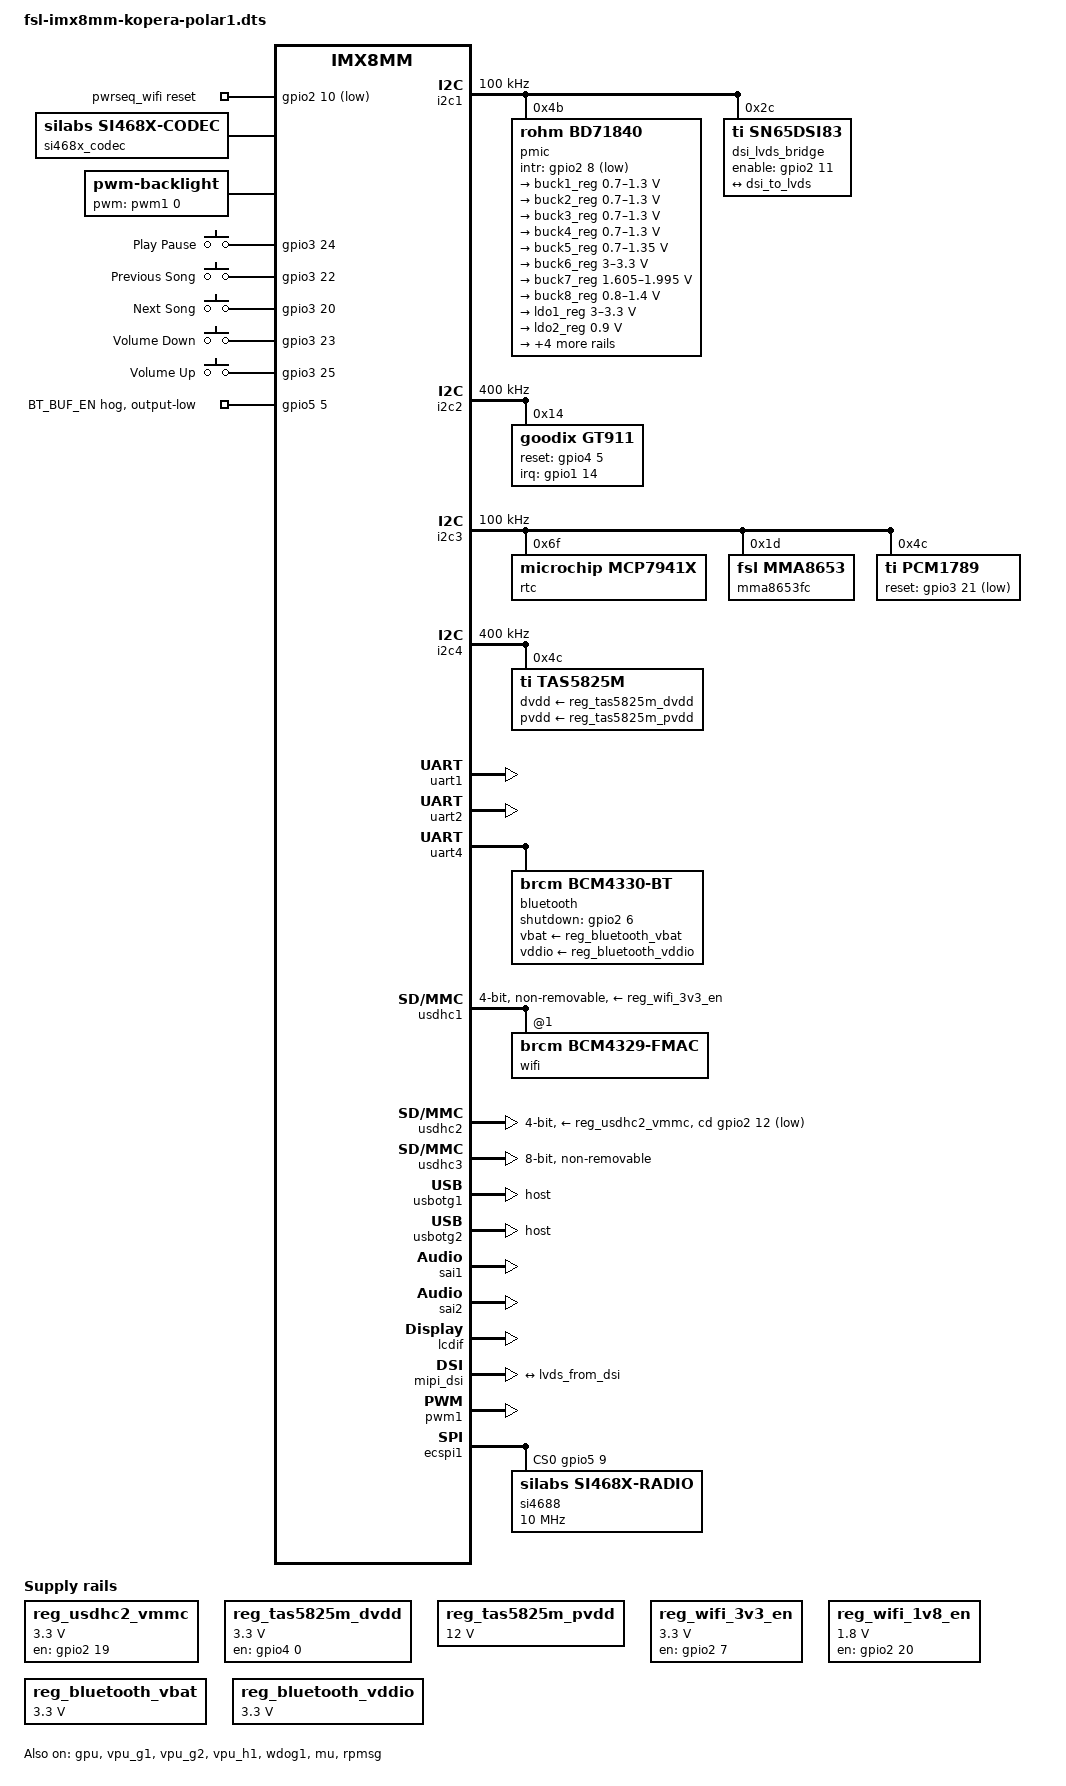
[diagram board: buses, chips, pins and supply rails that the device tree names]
/*
 * Copyright 2017 NXP
 * Copyright 2018-2019 Variscite Ltd.
 * Copyright 2019 KOPERA
 *
 * This program is free software; you can redistribute it and/or
 * modify it under the terms of the GNU General Public License
 * as published by the Free Software Foundation; either version 2
 * of the License, or (at your option) any later version.
 *
 * This program is distributed in the hope that it will be useful,
 * but WITHOUT ANY WARRANTY; without even the implied warranty of
 * MERCHANTABILITY or FITNESS FOR A PARTICULAR PURPOSE.  See the
 * GNU General Public License for more details.
 */

/dts-v1/;

#include "fsl-imx8mm.dtsi"

/ {
	compatible = "kopera,imx8mm-kopera-polar1", "fsl,imx8mm";

	chosen {
		bootargs = "console=ttymxc0,115200 earlycon=ec_imx6q,0x30860000,115200";
		stdout-path = &uart1;
	};

	regulators {
		compatible = "simple-bus";
		#address-cells = <1>;
		#size-cells = <0>;

		reg_usdhc2_vmmc: regulator-usdhc2 {
			compatible = "regulator-fixed";
			regulator-name = "VSD_3V3";
			regulator-min-microvolt = <3300000>;
			regulator-max-microvolt = <3300000>;
			gpio = <&gpio2 19 GPIO_ACTIVE_HIGH>;
			off-on-delay = <20000>;
			enable-active-high;
		};

		reg_tas5825m_dvdd: tas5825m_dvdd {
			compatible = "regulator-fixed";
			regulator-name = "TAS5825M_DVDD";
			regulator-min-microvolt = <3300000>;
			regulator-max-microvolt = <3300000>;
			gpio = <&gpio4 0 GPIO_ACTIVE_HIGH>;
			enable-active-high;
		};

		reg_tas5825m_pvdd: tas5825m_pvdd {
			compatible = "regulator-fixed";
			regulator-name = "TAS5825M_PVDD";
			regulator-min-microvolt = <12000000>;
			regulator-max-microvolt = <12000000>;
			regulator-always-on;
		};

		reg_wifi_3v3_en: wifi_3v3_en {
			compatible = "regulator-fixed";
			regulator-name = "WIFI_3V3_REG_ON";
			regulator-min-microvolt = <3300000>;
			regulator-max-microvolt = <3300000>;
			gpio = <&gpio2 7 GPIO_ACTIVE_HIGH>;
			enable-active-high;
			startup-delay-us = <20000>;
		};

		reg_wifi_1v8_en: wifi_1v8_en {
			compatible = "regulator-fixed";
			regulator-name = "WIFI_1V8_REG_ON";
			regulator-min-microvolt = <1800000>;
			regulator-max-microvolt = <1800000>;
			gpio = <&gpio2 20 GPIO_ACTIVE_HIGH>;
			enable-active-high;
			startup-delay-us = <20000>;
		};

		reg_bluetooth_vbat: bluetooth_vbat {
			compatible = "regulator-fixed";
			regulator-name = "BLUETOOTH_VBAT";
			regulator-min-microvolt = <3300000>;
			regulator-max-microvolt = <3300000>;
		};

		reg_bluetooth_vddio: bluetooth_vddio {
			compatible = "regulator-fixed";
			regulator-name = "BLUETOOTH_VDDIO";
			regulator-min-microvolt = <3300000>;
			regulator-max-microvolt = <3300000>;
		};
	};

	pwrseq_wifi: pwrseq_wifi {
		compatible = "mmc-pwrseq-simple";
		reset-gpios = <&gpio2 10 GPIO_ACTIVE_LOW>;
	};

	sound-tas5825m {
		compatible = "simple-audio-card";
		simple-audio-card,name = "tas5825m";
		simple-audio-card,aux-devs = <&pcm1789>;
		status = "okay";

		simple-audio-card,dai-link@0 {
			format = "i2s";
			bitclock-master = <&dailink0_master>;
			frame-master = <&dailink0_master>;

			dailink0_master: cpu {
				sound-dai = <&sai1>;
			};

			codec {
				sound-dai = <&tas5825m>;
			};
		};
	};

	sound-si468x {
		compatible = "simple-audio-card";
		simple-audio-card,name = "si468x";
		status = "okay";

		simple-audio-card,dai-link@0 {
			format = "i2s";
			bitclock-master = <&dailink1_master>;
			frame-master = <&dailink1_master>;

			dailink1_master: cpu {
				sound-dai = <&sai2>;
			};

			codec {
				sound-dai = <&si468x_codec>;
			};
		};
	};

	si468x_codec: si468x-codec {
		#sound-dai-cells = <0>;

		compatible = "silabs,si468x-codec";
		status = "okay";
	};

	backlight: backlight {
		compatible = "pwm-backlight";
		pwms = <&pwm1 0 1000000 0>;
		brightness-levels = <
			0 0 1 1 1 1 2 2 2 3
			3 3 4 4 4 5 5 6 6 7
			8 8 9 10 10 11 12 13 14 15
			16 17 18 19 20 22 23 24 26 27
			29 30 32 34 35 37 39 41 43 45
			47 49 51 54 56 58 61 64 66 69
			72 75 78 81 84 87 90 93 97 100
			104 108 111 115 119 123 127 131 136 140
			145 149 154 159 163 168 173 179 184 189
			195 200 206 212 217 223 230 236 242 248
			255
		>;
		default-brightness-level = <100>;
		status = "okay";
	};

	gpio-keys {
		compatible = "gpio-keys";
		pinctrl-names = "default";
		pinctrl-0 = <&pinctrl_gpio_keys>;

		play_pause {
			label = "Play Pause";
			gpios = <&gpio3 24 GPIO_ACTIVE_HIGH>;
			linux,code = <KEY_PLAYPAUSE>;
		};

		previous_song {
			label = "Previous Song";
			gpios = <&gpio3 22 GPIO_ACTIVE_HIGH>;
			linux,code = <KEY_PREVIOUSSONG>;
		};

		next_song {
			label = "Next Song";
			gpios = <&gpio3 20 GPIO_ACTIVE_HIGH>;
			linux,code = <KEY_NEXTSONG>;
		};

		volume_down {
			label = "Volume Down";
			gpios = <&gpio3 23 GPIO_ACTIVE_HIGH>;
			linux,code = <KEY_VOLUMEDOWN>;
		};

		volume_up {
			label = "Volume Up";
			gpios = <&gpio3 25 GPIO_ACTIVE_HIGH>;
			linux,code = <KEY_VOLUMEUP>;
		};
	};
};

&clk {
	assigned-clocks = <&clk IMX8MM_AUDIO_PLL1>;
	assigned-clock-rates = <786432000>;
};

&iomuxc {
	pinctrl-names = "default";

	imx8mm-kopera-polar1 {
		/* i2c */
		pinctrl_i2c1: i2c1grp {
			fsl,pins = <
				MX8MM_IOMUXC_I2C1_SCL_I2C1_SCL              0x400001c3
				MX8MM_IOMUXC_I2C1_SDA_I2C1_SDA              0x400001c3
			>;
		};

		pinctrl_i2c2: i2c2grp {
			fsl,pins = <
				MX8MM_IOMUXC_I2C2_SCL_I2C2_SCL              0x400001c3
				MX8MM_IOMUXC_I2C2_SDA_I2C2_SDA              0x400001c3
			>;
		};

		pinctrl_i2c3: i2c3grp {
			fsl,pins = <
				MX8MM_IOMUXC_I2C3_SCL_I2C3_SCL              0x400001c3
				MX8MM_IOMUXC_I2C3_SDA_I2C3_SDA              0x400001c3
			>;
		};

		pinctrl_i2c4: i2c4grp {
			fsl,pins = <
				MX8MM_IOMUXC_I2C4_SCL_I2C4_SCL              0x400001c3
				MX8MM_IOMUXC_I2C4_SDA_I2C4_SDA              0x400001c3
			>;
		};

		/* PMIC */
		pinctrl_pmic: pmicirq {
			fsl,pins = <
				MX8MM_IOMUXC_SD1_DATA6_GPIO2_IO8            0x41
			>;
		};

		/* UART */
		pinctrl_uart1: uart1grp {
			fsl,pins = <
				MX8MM_IOMUXC_UART1_RXD_UART1_DCE_RX         0x140
				MX8MM_IOMUXC_UART1_TXD_UART1_DCE_TX         0x140
			>;
		};

		pinctrl_uart2: uart2grp {
			fsl,pins = <
				MX8MM_IOMUXC_UART2_RXD_UART2_DCE_RX         0x140
				MX8MM_IOMUXC_UART2_TXD_UART2_DCE_TX         0x140
			>;
		};

		pinctrl_uart3: uart3grp {
			fsl,pins = <
				MX8MM_IOMUXC_UART3_RXD_UART3_DCE_RX         0x140
				MX8MM_IOMUXC_UART3_TXD_UART3_DCE_TX         0x140
			>;
		};

		pinctrl_uart4: uart4grp {
			fsl,pins = <
				MX8MM_IOMUXC_ECSPI2_SCLK_UART4_DCE_RX       0x140
				MX8MM_IOMUXC_ECSPI2_MOSI_UART4_DCE_TX       0x140
				MX8MM_IOMUXC_ECSPI2_SS0_UART4_DCE_RTS_B     0x140
				MX8MM_IOMUXC_ECSPI2_MISO_UART4_DCE_CTS_B    0x140
			>;
		};

		/* SDIO */
		pinctrl_usdhc1: usdhc1grp {
			fsl,pins = <
				MX8MM_IOMUXC_SD1_CLK_USDHC1_CLK             0x190
				MX8MM_IOMUXC_SD1_CMD_USDHC1_CMD             0x1d0
				MX8MM_IOMUXC_SD1_DATA0_USDHC1_DATA0         0x1d0
				MX8MM_IOMUXC_SD1_DATA1_USDHC1_DATA1         0x1d0
				MX8MM_IOMUXC_SD1_DATA2_USDHC1_DATA2         0x1d0
				MX8MM_IOMUXC_SD1_DATA3_USDHC1_DATA3         0x1d0
			>;
		};

		pinctrl_usdhc1_100mhz: usdhc1grp100mhz {
			fsl,pins = <
				MX8MM_IOMUXC_SD1_CLK_USDHC1_CLK             0x194
				MX8MM_IOMUXC_SD1_CMD_USDHC1_CMD             0x1d4
				MX8MM_IOMUXC_SD1_DATA0_USDHC1_DATA0         0x1d4
				MX8MM_IOMUXC_SD1_DATA1_USDHC1_DATA1         0x1d4
				MX8MM_IOMUXC_SD1_DATA2_USDHC1_DATA2         0x1d4
				MX8MM_IOMUXC_SD1_DATA3_USDHC1_DATA3         0x1d4
			>;
		};

		pinctrl_usdhc1_200mhz: usdhc1grp200mhz {
			fsl,pins = <
				MX8MM_IOMUXC_SD1_CLK_USDHC1_CLK             0x196
				MX8MM_IOMUXC_SD1_CMD_USDHC1_CMD             0x1d6
				MX8MM_IOMUXC_SD1_DATA0_USDHC1_DATA0         0x1d6
				MX8MM_IOMUXC_SD1_DATA1_USDHC1_DATA1         0x1d6
				MX8MM_IOMUXC_SD1_DATA2_USDHC1_DATA2         0x1d6
				MX8MM_IOMUXC_SD1_DATA3_USDHC1_DATA3         0x1d6
			>;
		};

		pinctrl_usdhc2_gpio: usdhc2grpgpio {
			fsl,pins = <
				MX8MM_IOMUXC_SD2_CD_B_GPIO2_IO12            0xc1
				MX8MM_IOMUXC_SD2_RESET_B_GPIO2_IO19         0xc1
			>;
		};

		pinctrl_usdhc2: usdhc2grp {
			fsl,pins = <
				MX8MM_IOMUXC_SD2_CLK_USDHC2_CLK             0x190
				MX8MM_IOMUXC_SD2_CMD_USDHC2_CMD             0x1d0
				MX8MM_IOMUXC_SD2_DATA0_USDHC2_DATA0         0x1d0
				MX8MM_IOMUXC_SD2_DATA1_USDHC2_DATA1         0x1d0
				MX8MM_IOMUXC_SD2_DATA2_USDHC2_DATA2         0x1d0
				MX8MM_IOMUXC_SD2_DATA3_USDHC2_DATA3         0x1d0
				MX8MM_IOMUXC_GPIO1_IO04_USDHC2_VSELECT      0x1d0
			>;
		};

		pinctrl_usdhc2_100mhz: usdhc2grp100mhz {
			fsl,pins = <
				MX8MM_IOMUXC_SD2_CLK_USDHC2_CLK             0x194
				MX8MM_IOMUXC_SD2_CMD_USDHC2_CMD             0x1d4
				MX8MM_IOMUXC_SD2_DATA0_USDHC2_DATA0         0x1d4
				MX8MM_IOMUXC_SD2_DATA1_USDHC2_DATA1         0x1d4
				MX8MM_IOMUXC_SD2_DATA2_USDHC2_DATA2         0x1d4
				MX8MM_IOMUXC_SD2_DATA3_USDHC2_DATA3         0x1d4
				MX8MM_IOMUXC_GPIO1_IO04_USDHC2_VSELECT      0x1d0
			>;
		};

		pinctrl_usdhc2_200mhz: usdhc2grp200mhz {
			fsl,pins = <
				MX8MM_IOMUXC_SD2_CLK_USDHC2_CLK             0x196
				MX8MM_IOMUXC_SD2_CMD_USDHC2_CMD             0x1d6
				MX8MM_IOMUXC_SD2_DATA0_USDHC2_DATA0         0x1d6
				MX8MM_IOMUXC_SD2_DATA1_USDHC2_DATA1         0x1d6
				MX8MM_IOMUXC_SD2_DATA2_USDHC2_DATA2         0x1d6
				MX8MM_IOMUXC_SD2_DATA3_USDHC2_DATA3         0x1d6
				MX8MM_IOMUXC_GPIO1_IO04_USDHC2_VSELECT      0x1d0
			>;
		};

		pinctrl_usdhc3: usdhc3grp {
			fsl,pins = <
				MX8MM_IOMUXC_NAND_WE_B_USDHC3_CLK           0x190
				MX8MM_IOMUXC_NAND_WP_B_USDHC3_CMD           0x1d0
				MX8MM_IOMUXC_NAND_DATA04_USDHC3_DATA0       0x1d0
				MX8MM_IOMUXC_NAND_DATA05_USDHC3_DATA1       0x1d0
				MX8MM_IOMUXC_NAND_DATA06_USDHC3_DATA2       0x1d0
				MX8MM_IOMUXC_NAND_DATA07_USDHC3_DATA3       0x1d0
				MX8MM_IOMUXC_NAND_RE_B_USDHC3_DATA4         0x1d0
				MX8MM_IOMUXC_NAND_CE2_B_USDHC3_DATA5        0x1d0
				MX8MM_IOMUXC_NAND_CE3_B_USDHC3_DATA6        0x1d0
				MX8MM_IOMUXC_NAND_CLE_USDHC3_DATA7          0x1d0
				MX8MM_IOMUXC_NAND_CE1_B_USDHC3_STROBE       0x190
			>;
		};

		pinctrl_usdhc3_100mhz: usdhc3grp100mhz {
			fsl,pins = <
				MX8MM_IOMUXC_NAND_WE_B_USDHC3_CLK           0x194
				MX8MM_IOMUXC_NAND_WP_B_USDHC3_CMD           0x1d4
				MX8MM_IOMUXC_NAND_DATA04_USDHC3_DATA0       0x1d4
				MX8MM_IOMUXC_NAND_DATA05_USDHC3_DATA1       0x1d4
				MX8MM_IOMUXC_NAND_DATA06_USDHC3_DATA2       0x1d4
				MX8MM_IOMUXC_NAND_DATA07_USDHC3_DATA3       0x1d4
				MX8MM_IOMUXC_NAND_RE_B_USDHC3_DATA4         0x1d4
				MX8MM_IOMUXC_NAND_CE2_B_USDHC3_DATA5        0x1d4
				MX8MM_IOMUXC_NAND_CE3_B_USDHC3_DATA6        0x1d4
				MX8MM_IOMUXC_NAND_CLE_USDHC3_DATA7          0x1d4
				MX8MM_IOMUXC_NAND_CE1_B_USDHC3_STROBE       0x194
			>;
		};

		pinctrl_usdhc3_200mhz: usdhc3grp200mhz {
			fsl,pins = <
				MX8MM_IOMUXC_NAND_WE_B_USDHC3_CLK           0x196
				MX8MM_IOMUXC_NAND_WP_B_USDHC3_CMD           0x1d6
				MX8MM_IOMUXC_NAND_DATA04_USDHC3_DATA0       0x1d6
				MX8MM_IOMUXC_NAND_DATA05_USDHC3_DATA1       0x1d6
				MX8MM_IOMUXC_NAND_DATA06_USDHC3_DATA2       0x1d6
				MX8MM_IOMUXC_NAND_DATA07_USDHC3_DATA3       0x1d6
				MX8MM_IOMUXC_NAND_RE_B_USDHC3_DATA4         0x1d6
				MX8MM_IOMUXC_NAND_CE2_B_USDHC3_DATA5        0x1d6
				MX8MM_IOMUXC_NAND_CE3_B_USDHC3_DATA6        0x1d6
				MX8MM_IOMUXC_NAND_CLE_USDHC3_DATA7          0x1d6
				MX8MM_IOMUXC_NAND_CE1_B_USDHC3_STROBE       0x196
			>;
		};

		/* SAI */
		pinctrl_sai1: sai1grp {
			fsl,pins = <
				MX8MM_IOMUXC_SAI1_MCLK_SAI1_MCLK            0xd6
				MX8MM_IOMUXC_SAI1_TXFS_SAI1_TX_SYNC         0xd6
				MX8MM_IOMUXC_SAI1_TXC_SAI1_TX_BCLK          0xd6
				MX8MM_IOMUXC_SAI1_TXD0_SAI1_TX_DATA0        0xd6
			>;
		};

		pinctrl_sai2: sai2grp {
			fsl,pins = <
				MX8MM_IOMUXC_SAI2_MCLK_SAI2_MCLK            0xd6
				MX8MM_IOMUXC_SAI2_RXC_SAI2_RX_BCLK          0xd6
				MX8MM_IOMUXC_SAI2_RXD0_SAI2_RX_DATA0        0xd6
				MX8MM_IOMUXC_SAI2_RXFS_SAI2_RX_SYNC         0xd6
			>;
		};

		/* watchdog */
		pinctrl_wdog: wdoggrp {
			fsl,pins = <
				MX8MM_IOMUXC_GPIO1_IO02_WDOG1_WDOG_B        0xc6
			>;
		};

		/* PWM */
		pinctrl_pwm1: pwm1grp {
			fsl,pins = <
				MX8MM_IOMUXC_GPIO1_IO01_PWM1_OUT            0x06
			>;
		};

		/* Capacitive touch */
		pinctrl_captouch: captouchgrp {
			fsl,pins = <
				MX8MM_IOMUXC_SAI1_RXD3_GPIO4_IO5            0x16
				MX8MM_IOMUXC_GPIO1_IO14_GPIO1_IO14          0x16
			>;
		};

		/* GPIO Keys */
		pinctrl_gpio_keys: keygrp {
			fsl,pins = <
				MX8MM_IOMUXC_SAI5_RXD2_GPIO3_IO23           0x186
				MX8MM_IOMUXC_SAI5_RXC_GPIO3_IO20            0x186
				MX8MM_IOMUXC_SAI5_RXD1_GPIO3_IO22           0x186
				MX8MM_IOMUXC_SAI5_RXD3_GPIO3_IO24           0x186
				MX8MM_IOMUXC_SAI5_MCLK_GPIO3_IO25           0x186
			>;
		};

		/* SPI */
		pinctrl_ecspi1: ecspi1grp {
			fsl,pins = <
				MX8MM_IOMUXC_ECSPI1_SCLK_ECSPI1_SCLK        0x11
				MX8MM_IOMUXC_ECSPI1_MOSI_ECSPI1_MOSI        0x11
				MX8MM_IOMUXC_ECSPI1_MISO_ECSPI1_MISO        0x11
				MX8MM_IOMUXC_ECSPI1_SS0_GPIO5_IO9           0x11  /* SI4688_CS */
			>;
		};

		/* LVDS */
		pinctrl_lvds: lvdsgrp {
			fsl,pins = <
				MX8MM_IOMUXC_SD1_STROBE_GPIO2_IO11          0x16
			>;
		};

		/* TAS5825M */
		pinctrl_tas5825m: tas5825mgrp {
			fsl,pins = <
				MX8MM_IOMUXC_SAI1_RXFS_GPIO4_IO0            0xc1
			>;
		};

		/* DAC */
		pinctrl_pcm1789: pcm1789grp {
			fsl,pins = <
				MX8MM_IOMUXC_SAI5_RXD0_GPIO3_IO21           0x86
			>;
		};

		/* DAB/FM Radio */
		pinctrl_si4688: si4688grp {
			fsl,pins = <
				MX8MM_IOMUXC_SAI1_TXD5_GPIO4_IO17           0x86 /* SI4688_RSTB */
				MX8MM_IOMUXC_SAI1_RXC_GPIO4_IO1             0xc6 /* SI4688_INTB */
			>;
		};

		/* WIFI */
		pinctrl_wifi: wifigrp {
			fsl,pins = <
				MX8MM_IOMUXC_SD1_DATA5_GPIO2_IO7            0xc1  /* WIFI_3V3_PWR_EN */
				MX8MM_IOMUXC_SD2_WP_GPIO2_IO20              0x140 /* WIFI_1V8_PWR_EN */
				MX8MM_IOMUXC_SD1_RESET_B_GPIO2_IO10         0xc1  /* WIFI_REG_ON     */
			>;
		};

		/* Bluetooth */
		pinctrl_bluetooth: bluetoothgrp {
			fsl,pins = <
				MX8MM_IOMUXC_SD1_DATA4_GPIO2_IO6            0xc1  /* BT_REG_ON */
			>;
		};

		pinctrl_bluetooth_buffer: bluetoothbuffergrp {
			fsl,pins = <
				MX8MM_IOMUXC_SPDIF_EXT_CLK_GPIO5_IO5        0xc1  /* BT_BUF_EN */
			>;
		};
	};
};

/* A53 */
&A53_0 {
	arm-supply = <&buck2_reg>;
};

&snvs_rtc {
	status = "disabled";
};

/* I2C */
&i2c1 {
	clock-frequency = <100000>;
	pinctrl-names = "default";
	pinctrl-0 = <&pinctrl_i2c1>;
	status = "okay";

	pmic: bd71837@4b {
		reg = <0x4b>;
		compatible = "rohm,bd71840", "rohm,bd71837";
		pinctrl-0 = <&pinctrl_pmic>;
		gpio_intr = <&gpio2 8 GPIO_ACTIVE_LOW>;

		gpo {
			rohm,drv = <0x0C>;	/* 0b0000_1100 all gpos with cmos output mode */
		};

		regulators {
			#address-cells = <1>;
			#size-cells = <0>;

			bd71837,pmic-buck2-uses-i2c-dvs;
			bd71837,pmic-buck2-dvs-voltage = <1000000>, <900000>, <0>; /* VDD_ARM: Run-Idle */

			buck1_reg: regulator@0 {
				reg = <0>;
				regulator-compatible = "buck1";
				regulator-min-microvolt = <700000>;
				regulator-max-microvolt = <1300000>;
				regulator-boot-on;
				regulator-always-on;
				regulator-ramp-delay = <1250>;
			};

			buck2_reg: regulator@1 {
				reg = <1>;
				regulator-compatible = "buck2";
				regulator-min-microvolt = <700000>;
				regulator-max-microvolt = <1300000>;
				regulator-boot-on;
				regulator-always-on;
				regulator-ramp-delay = <1250>;
			};

			buck3_reg: regulator@2 {
				reg = <2>;
				regulator-compatible = "buck3";
				regulator-min-microvolt = <700000>;
				regulator-max-microvolt = <1300000>;
			};

			buck4_reg: regulator@3 {
				reg = <3>;
				regulator-compatible = "buck4";
				regulator-min-microvolt = <700000>;
				regulator-max-microvolt = <1300000>;
			};

			buck5_reg: regulator@4 {
				reg = <4>;
				regulator-compatible = "buck5";
				regulator-min-microvolt = <700000>;
				regulator-max-microvolt = <1350000>;
				regulator-boot-on;
				regulator-always-on;
			};

			buck6_reg: regulator@5 {
				reg = <5>;
				regulator-compatible = "buck6";
				regulator-min-microvolt = <3000000>;
				regulator-max-microvolt = <3300000>;
				regulator-boot-on;
				regulator-always-on;
			};

			buck7_reg: regulator@6 {
				reg = <6>;
				regulator-compatible = "buck7";
				regulator-min-microvolt = <1605000>;
				regulator-max-microvolt = <1995000>;
				regulator-boot-on;
				regulator-always-on;
			};

			buck8_reg: regulator@7 {
				reg = <7>;
				regulator-compatible = "buck8";
				regulator-min-microvolt = <800000>;
				regulator-max-microvolt = <1400000>;
				regulator-boot-on;
				regulator-always-on;
			};

			ldo1_reg: regulator@8 {
				reg = <8>;
				regulator-compatible = "ldo1";
				regulator-min-microvolt = <3000000>;
				regulator-max-microvolt = <3300000>;
				regulator-boot-on;
				regulator-always-on;
			};

			ldo2_reg: regulator@9 {
				reg = <9>;
				regulator-compatible = "ldo2";
				regulator-min-microvolt = <900000>;
				regulator-max-microvolt = <900000>;
				regulator-boot-on;
				regulator-always-on;
			};

			ldo3_reg: regulator@10 {
				reg = <10>;
				regulator-compatible = "ldo3";
				regulator-min-microvolt = <1800000>;
				regulator-max-microvolt = <3300000>;
				regulator-boot-on;
				regulator-always-on;
			};

			ldo4_reg: regulator@11 {
				reg = <11>;
				regulator-compatible = "ldo4";
				regulator-min-microvolt = <900000>;
				regulator-max-microvolt = <1800000>;
				regulator-boot-on;
				regulator-always-on;
			};

			ldo5_reg: regulator@12 {
				reg = <12>;
				regulator-compatible = "ldo5";
				regulator-min-microvolt = <1800000>;
				regulator-max-microvolt = <1800000>;
				regulator-always-on;
			};

			ldo6_reg: regulator@13 {
				reg = <13>;
				regulator-compatible = "ldo6";
				regulator-min-microvolt = <900000>;
				regulator-max-microvolt = <1800000>;
				regulator-boot-on;
				regulator-always-on;
			};
		};
	};

	dsi_lvds_bridge: sn65dsi84@2c {
		compatible = "ti,sn65dsi83";
		reg = <0x2c>;
		ti,dsi-lanes = <4>;
		ti,lvds-format = <2>;
		ti,lvds-bpp = <24>;
		ti,width-mm = <154>;
		ti,height-mm = <90>;
		enable-gpios = <&gpio2 11 GPIO_ACTIVE_HIGH>;
		pinctrl-names = "default";
		pinctrl-0 = <&pinctrl_lvds>;
		status = "okay";

		display-timings {
			lvds {
				clock-frequency = <49500000>;
				hactive = <1024>;
				vactive = <600>;

				hback-porch = <220>;
				hfront-porch = <50>;
				hsync-len = <50>;

				vback-porch = <26>;
				vfront-porch = <3>;
				vsync-len = <6>;

				hsync-active = <0>;
				vsync-active = <0>;
				de-active = <1>;
				pixelclk-active = <0>;
			};
		};

		port {
			lvds_from_dsi: endpoint {
				remote-endpoint = <&dsi_to_lvds>;
			};
		};
	};
};

&i2c2 {
	clock-frequency = <400000>;
	pinctrl-names = "default";
	pinctrl-0 = <&pinctrl_i2c2>;
	status = "okay";

	/* Capacitive touch screen */
	gt911: gt911@14 {
		compatible = "goodix,gt911";
		reg = <0x14>;
		pinctrl-names = "default";
		pinctrl-0 = <&pinctrl_captouch>;
		reset-gpios = <&gpio4 5 GPIO_ACTIVE_HIGH>;
		irq-gpios = <&gpio1 14 GPIO_ACTIVE_HIGH>;
		interrupt-parent = <&gpio1>;
		interrupts = <14 0>;
		touchscreen-size-x = <1024>;
		touchscreen-size-y = <600>;
		skip-config-loading;
		status = "okay";
	};
};

&i2c3 {
	clock-frequency = <100000>;
	pinctrl-names = "default";
	pinctrl-0 = <&pinctrl_i2c3>;
	status = "okay";

	rtc@6f {
		compatible = "microchip,mcp7941x";
		reg = <0x6f>;
		status = "okay";
	};

	mma8653fc@1d {
		compatible = "fsl,mma8653";
		reg = <0x1d>;
		status = "okay";
	};

	pcm1789: pcm1789@4c {
		#sound-dai-cells = <0>;

		compatible = "ti,pcm1789";
		reg = <0x4c>;
		pinctrl-names = "default";
		pinctrl-0 = <&pinctrl_pcm1789>;
		reset-gpios = <&gpio3 21 GPIO_ACTIVE_LOW>;
		status = "okay";
	};
};

&i2c4 {
	clock-frequency = <400000>;
	pinctrl-names = "default";
	pinctrl-0 = <&pinctrl_i2c4>;
	status = "okay";

	tas5825m: tas5825m@4c {
		#sound-dai-cells = <0>;

		compatible = "ti,tas5825m";
		reg = <0x4c>;
		pinctrl-names = "default";
		pinctrl-0 = <&pinctrl_tas5825m>;
		clocks = <&clk IMX8MM_CLK_SAI1_ROOT>;
		clock-names = "mclk";
		dvdd-supply = <&reg_tas5825m_dvdd>;
		pvdd-supply = <&reg_tas5825m_pvdd>;
		status = "okay";
	};
};

/* UART */
&uart1 {
	/* Console */
	pinctrl-names = "default";
	pinctrl-0 = <&pinctrl_uart1>;
	status = "okay";
};

&uart2 {
	/* uC */
	pinctrl-names = "default";
	pinctrl-0 = <&pinctrl_uart2>;
	status = "okay";
};

&uart3 {
	pinctrl-names = "default";
	pinctrl-0 = <&pinctrl_uart3>;
	status = "disabled";
};

/* Bluetooth */
&uart4 {
	pinctrl-names = "default";
	pinctrl-0 = <&pinctrl_bluetooth &pinctrl_uart4>;
	assigned-clocks = <&clk IMX8MM_CLK_UART4_SRC>;
	assigned-clock-parents = <&clk IMX8MM_SYS_PLL1_80M>;
	uart-has-rtscts;
	status = "okay";

	bluetooth {
		compatible = "brcm,bcm4330-bt";
		max-speed = <3000000>;
		shutdown-gpios = <&gpio2 6 GPIO_ACTIVE_HIGH>;
		vbat-supply = <&reg_bluetooth_vbat>;
		vddio-supply = <&reg_bluetooth_vddio>;
	};
};

&gpio5 {
	bluetooth_buf_en_hog {
		gpio-hog;
		gpios = <5 0>;
		output-low;
		pinctrl-names = "default";
		pinctrl-0 = <&pinctrl_bluetooth_buffer>;
		line-name = "BT_BUF_EN";
	};
};

/* WIFI */
&usdhc1 {
	#address-cells = <1>;
	#size-cells = <0>;

	pinctrl-names = "default", "state_100mhz", "state_200mhz";
	pinctrl-0 = <&pinctrl_usdhc1 &pinctrl_wifi>;
	pinctrl-1 = <&pinctrl_usdhc1_100mhz &pinctrl_wifi>;
	pinctrl-2 = <&pinctrl_usdhc1_200mhz &pinctrl_wifi>;
	bus-width = <4>;
	vmmc-supply = <&reg_wifi_3v3_en>;
	mmc-pwrseq = <&pwrseq_wifi>;
	non-removable;
	status = "okay";

	wifi@1 {
		reg = <1>;
		compatible = "brcm,bcm4329-fmac";
	};
};

/* SD */
&usdhc2 {
	pinctrl-names = "default", "state_100mhz", "state_200mhz";
	pinctrl-0 = <&pinctrl_usdhc2>, <&pinctrl_usdhc2_gpio>;
	pinctrl-1 = <&pinctrl_usdhc2_100mhz>, <&pinctrl_usdhc2_gpio>;
	pinctrl-2 = <&pinctrl_usdhc2_200mhz>, <&pinctrl_usdhc2_gpio>;
	cd-gpios = <&gpio2 12 GPIO_ACTIVE_LOW>;
	bus-width = <4>;
	vmmc-supply = <&reg_usdhc2_vmmc>;
	status = "okay";
};

/* eMMC */
&usdhc3 {
	pinctrl-names = "default", "state_100mhz", "state_200mhz";
	pinctrl-0 = <&pinctrl_usdhc3>;
	pinctrl-1 = <&pinctrl_usdhc3_100mhz>;
	pinctrl-2 = <&pinctrl_usdhc3_200mhz>;
	bus-width = <8>;
	non-removable;
	status = "okay";
};

/* USB */
&usbotg1 {
	dr_mode = "host";
	picophy,pre-emp-curr-control = <3>;
	picophy,dc-vol-level-adjust = <7>;
	status = "okay";
};

&usbotg2 {
	dr_mode = "host";
	picophy,pre-emp-curr-control = <3>;
	picophy,dc-vol-level-adjust = <7>;
	status = "okay";
};

/* SAI */
&sai1 {
	#sound-dai-cells = <0>;

	pinctrl-names = "default";
	pinctrl-0 = <&pinctrl_sai1>;
	assigned-clocks = <&clk IMX8MM_CLK_SAI1_SRC>,
			<&clk IMX8MM_CLK_SAI1_DIV>;
	assigned-clock-parents = <&clk IMX8MM_AUDIO_PLL1_OUT>;
	assigned-clock-rates = <0>, <1536000>;
	status = "okay";
};

&sai2 {
	#sound-dai-cells = <0>;

	pinctrl-names = "default";
	pinctrl-0 = <&pinctrl_sai2>;
	assigned-clocks = <&clk IMX8MM_CLK_SAI2_SRC>,
			<&clk IMX8MM_CLK_SAI2_DIV>;
	assigned-clock-parents = <&clk IMX8MM_AUDIO_PLL1_OUT>;
	assigned-clock-rates = <0>, <6144000>;
	status = "okay";
};

/* GPU/VPU */
&gpu {
	status = "okay";
};

&vpu_g1 {
	status = "okay";
};

&vpu_g2 {
	status = "okay";
};

&vpu_h1 {
	status = "okay";
};

/* LVDS */
&lcdif {
	status = "okay";
};

&mipi_dsi {
	status = "okay";

	port@1 {
		dsi_to_lvds: endpoint {
			remote-endpoint = <&lvds_from_dsi>;
		};
	};
};

&pwm1 {
	status = "okay";
	pinctrl-names = "default";
	pinctrl-0 = <&pinctrl_pwm1>;
};

/* DAB/FM Radio */
&ecspi1 {
	pinctrl-names = "default";
	pinctrl-0 = <&pinctrl_ecspi1>;
	cs-gpios = <&gpio5 9 0>;
	fsl,spi-num-chipselects = <1>;
	status = "okay";

	si4688@0 {
		compatible = "silabs,si468x-radio";
		reg = <0>;
		pinctrl-names = "default";
		pinctrl-0 = <&pinctrl_si4688>;
		spi-max-frequency = <10000000>;
		status = "okay";
	};
};

/* Watchdog */
&wdog1 {
	pinctrl-names = "default";
	pinctrl-0 = <&pinctrl_wdog>;
	fsl,ext-reset-output;
	status = "okay";
};

/* m4 */
&mu {
	status = "okay";
};

&rpmsg{
/*
	 * 64K for one rpmsg instance:
	 * --0xb8000000~0xb800ffff: pingpong
	 */
	vdev-nums = <1>;
	reg = <0x0 0xb8000000 0x0 0x10000>;
	status = "okay";
};
